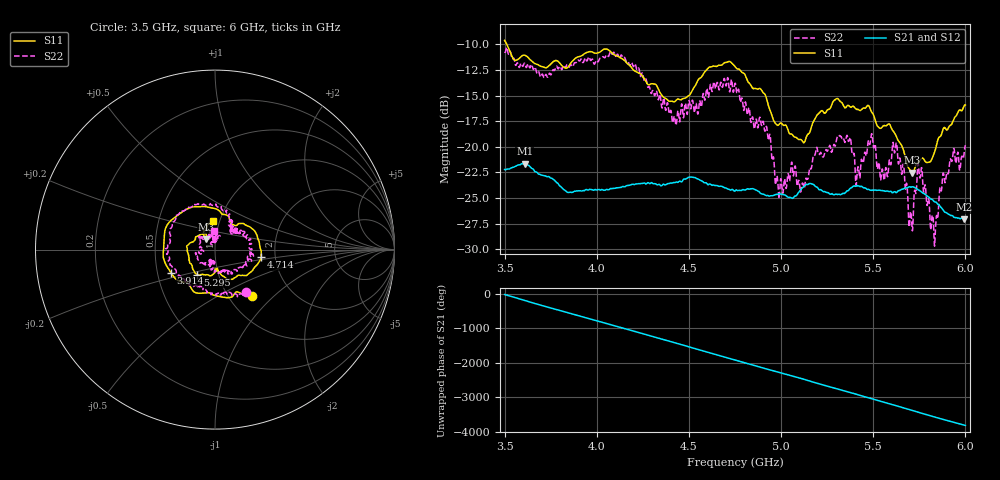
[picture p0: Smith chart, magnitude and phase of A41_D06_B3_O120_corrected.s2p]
! Created with skrf 1.9.0 (http://scikit-rf.org).
# Hz S RI R 50.0
!freq ReS11 ImS11 ReS21 ImS21 ReS12 ImS12 ReS22 ImS22
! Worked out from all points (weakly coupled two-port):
!   1601 points, 3.5 GHz to 6 GHz, reference 50 ohm
!   highest |S21| = -21.64 dB at 3.609 GHz (marker M1); lowest = -27.1 dB at 5.992 GHz (marker M2)
!   lowest |S11| = -22.5 dB at 5.713 GHz (marker M3), VSWR 1.16, Z = 45.2 + j5.25 ohm
!   |S11| at or under -10 dB: 3.512 GHz to end of sweep
!   |S22| runs from -29.7 to -10.3 dB; largest |S21 - S12| = 0.00092
!   S11 on the Smith chart (normalised r, x): 3.5 GHz: 1.28, -0.74; 3.914 GHz: 0.59, -0.16; 4.714 GHz: 1.68, -0.14; 5.295 GHz: 0.79, -0.23; 6 GHz: 0.93, +0.31
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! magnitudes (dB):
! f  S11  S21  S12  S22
! 3.5 GHz  -9.6  -22.2  -22.2  -10.7
! 3.609 GHz  -11.1  -21.6  -21.6  -11.9
! 3.914 GHz  -11.1  -24.3  -24.3  -11.4
! 3.917 GHz  -11.1  -24.3  -24.3  -11.5
! 4.141 GHz  -11.4  -23.9  -23.9  -11.3
! 4.334 GHz  -14.4  -23.7  -23.6  -15.4
! 4.422 GHz  -15.6  -23.5  -23.5  -17.1
! 4.714 GHz  -11.7  -24.1  -24.1  -13.6
! 4.75 GHz  -12.2  -24.3  -24.2  -13.8
! 4.93 GHz  -15.9  -24.8  -24.7  -19.2
! 4.981 GHz  -17.9  -24.6  -24.6  -23.2
! 5.167 GHz  -17.9  -23.6  -23.6  -21.8
! 5.295 GHz  -15.4  -24.6  -24.6  -19.8
! 5.416 GHz  -16.4  -23.8  -23.8  -22.1
! 5.584 GHz  -17.8  -24.4  -24.3  -21.7
! 5.619 GHz  -18.7  -24.4  -24.4  -20.4
! 5.713 GHz  -22.5  -23.9  -23.8  -28.2
! 5.753 GHz  -21.3  -24.3  -24.2  -23.0
! 5.839 GHz  -20.1  -25.4  -25.3  -27.6
! 5.873 GHz  -18.6  -26.0  -26.0  -23.6
! 5.992 GHz  -16.0  -27.1  -27.0  -20.8
! 6 GHz  -15.9  -27.1  -27.0  -19.8
